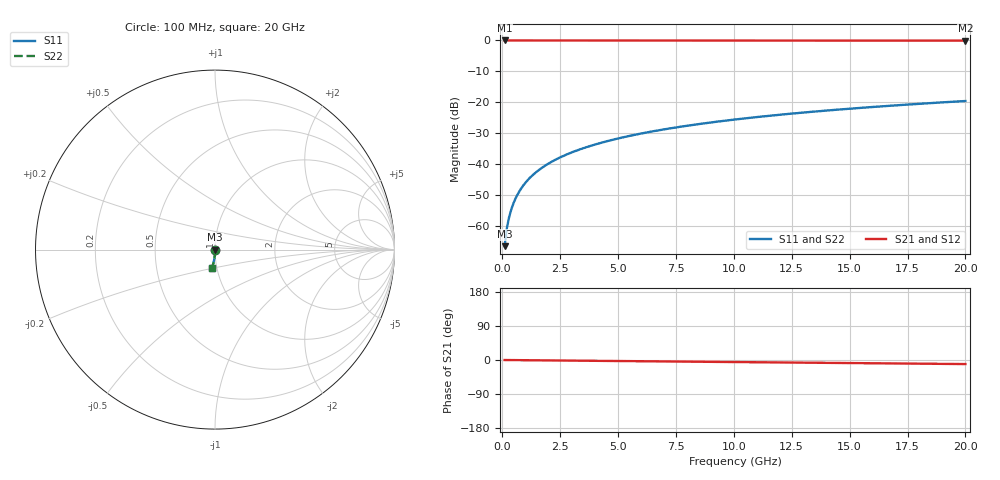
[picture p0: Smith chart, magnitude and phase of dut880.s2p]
! Touchstone file exported from HFSS 2026.1.0
!  File:  C:/ffzhzh/LocalFiles/Ansys_Project_Files/temp_train_TSV_880_1783185733_18472.aedt
!  Generated:  01:23:36 AM Jul  5, 2026
!  Design:  TSV
!  Project:  temp_train_TSV_880_1783185733_18472
! Variables:
!  h_bsmrdl = 2um
!  h_ox = 20um
!  h_rdl = 5um
!  h_sub = 95.71um
!  h_tmrdl = 5um
!  h_tsv = 95.71um
!  h_via = 3um
!  l_bsmrdl = 300um
!  l_sub = 428.08um
!  l_tmrdl = 200um
!  m_sub = 200um
!  pitch = 35.38um
!  r_tsv = 14.04um
!  s_tmrdl = 10um
!  w_bsmrdl = 18um
!  w_sub = 500um
!  w_tmrdl = 12um
!  x_tsv_center1 = 206um
!  x_tsv_center2 = 524um
!  x_tsv_center3 = 736um
!  x_tsv_center4 = 1054um
!  x_tsv_center5 = 1266um
!  x_tsv_center6 = 1584um
# GHz S MA R 50.000000
! Terminal data exported
! Port[1] = TSV1_1_T1
! Port[2] = TSV1_1_T2
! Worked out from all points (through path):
!   200 points, 100 MHz to 20 GHz, reference 50 ohm
!   highest |S21| = 0.00 dB at 100 MHz (marker M1); lowest = -0.1 dB at 20 GHz (marker M2)
!   group delay of S21, straight-line fit = 1.49 ps
!   lowest |S11| = -66.4 dB at 100 MHz (marker M3), VSWR 1.00, Z = 50 - j0.047 ohm
!   |S11| at or under -10 dB: start of sweep to end of sweep
!   |S22| runs from -66.4 to -19.5 dB; largest |S21 - S12| = 3.2e-15
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0.1  0.000481 -77.8  0.9999 -0.1  0.9999 -0.1  0.000481 -77.8
! Gamma 0 0 0 0
! Port Impedance 50 0 50 0
0.2  0.0009548 -82.6  0.9999 -0.1  0.9999 -0.1  0.0009548 -82.6
0.3  0.001442 -84.0  0.9998 -0.2  0.9998 -0.2  0.001442 -84.0
0.4  0.001942 -84.6  0.9998 -0.2  0.9998 -0.2  0.001942 -84.6
0.5  0.002452 -85.0  0.9998 -0.3  0.9998 -0.3  0.002452 -85.0
0.7  0.003492 -85.6  0.9997 -0.4  0.9997 -0.4  0.003492 -85.6
0.8  0.004018 -86.0  0.9997 -0.4  0.9997 -0.4  0.004018 -86.0
1  0.005074 -86.5  0.9996 -0.6  0.9996 -0.6  0.005074 -86.5
1.2  0.006133 -87.0  0.9996 -0.7  0.9996 -0.7  0.006133 -87.0
1.4  0.007191 -87.5  0.9996 -0.8  0.9996 -0.8  0.007191 -87.5
1.7  0.008778 -88.0  0.9995 -0.9  0.9995 -0.9  0.008778 -88.0
2  0.01036 -88.5  0.9995 -1.1  0.9995 -1.1  0.01036 -88.5
2.7  0.01406 -89.3  0.9994 -1.5  0.9994 -1.5  0.01406 -89.3
3.5  0.0183 -90.0  0.9992 -1.9  0.9992 -1.9  0.0183 -90.0
4.2  0.02201 -90.5  0.9991 -2.3  0.9991 -2.3  0.02201 -90.5
5  0.02625 -91.1  0.9989 -2.7  0.9989 -2.7  0.02625 -91.1
6.8  0.03582 -92.3  0.9985 -3.7  0.9985 -3.7  0.03582 -92.3
8.3  0.0438 -93.2  0.9981 -4.5  0.9981 -4.5  0.0438 -93.2
10.1  0.05337 -94.3  0.9975 -5.5  0.9975 -5.5  0.05337 -94.3
13.4  0.07085 -96.2  0.9963 -7.2  0.9963 -7.2  0.07085 -96.2
16.7  0.08825 -98.1  0.9947 -9.0  0.9947 -9.0  0.08825 -98.1
20  0.1055 -99.9  0.9929 -10.7  0.9929 -10.7  0.1055 -99.9
